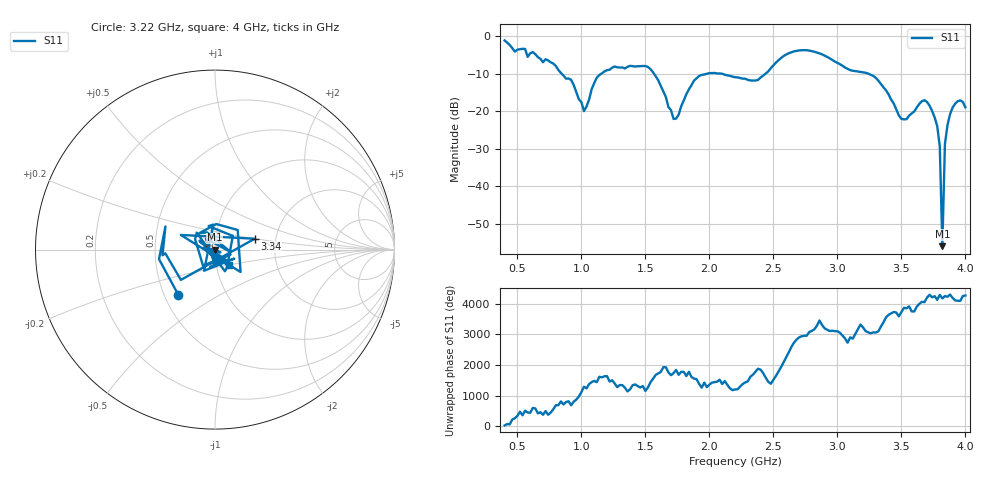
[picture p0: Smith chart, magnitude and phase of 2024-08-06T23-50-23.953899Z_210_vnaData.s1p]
!Created with skrf (http://scikit-rf.org).
# Hz S RI R 50.0
!freq ReS11 ImS11
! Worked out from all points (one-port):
!   181 points, 400 MHz to 4 GHz, reference 50 ohm
!   lowest |S11| = -55.9 dB at 3.82 GHz (marker M1), VSWR 1.00, Z = 49.9 - j0.0917 ohm
!   |S11| at or under -10 dB: 1.566 GHz to 1.986 GHz (419.5 MHz wide, 23.6 % of centre); 2.088 GHz to 2.439 GHz (351.9 MHz wide, 15.5 % of centre); 3.24 GHz to end of sweep (the widest 3 of 4)
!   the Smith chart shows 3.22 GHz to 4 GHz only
!   S11 on the Smith chart (normalised r, x): 3.22 GHz: 0.59, -0.33; 3.34 GHz: 1.55, +0.20; 4 GHz: 1.15, -0.19
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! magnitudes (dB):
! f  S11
! 400 MHz  -1.2
! 860 MHz  -10.5
! 920 MHz  -11.7
! 1.02 GHz  -20.0
! 1.12 GHz  -11.1
! 1.3 GHz  -8.4
! 1.52 GHz  -8.3
! 1.6 GHz  -11.8
! 1.72 GHz  -22.1
! 1.76 GHz  -20.9
! 1.92 GHz  -10.6
! 2.2 GHz  -11.0
! 2.38 GHz  -11.7
! 2.66 GHz  -4.1
! 2.86 GHz  -4.6
! 3.1 GHz  -9.1
! 3.22 GHz  -9.8
! 3.34 GHz  -12.8
! 3.5 GHz  -22.0
! 3.56 GHz  -21.2
! 3.68 GHz  -17.1
! 3.78 GHz  -24.0
! 3.8 GHz  -29.4
! 3.82 GHz  -55.9
! 3.84 GHz  -28.8
! 3.86 GHz  -23.7
! 3.92 GHz  -18.0
! 4 GHz  -19.0
